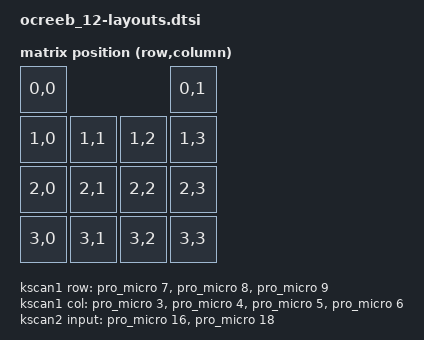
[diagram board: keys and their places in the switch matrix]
// See https://zmk.dev/docs/development/hardware-integration/physical-layouts
// for how to configure this.

#include <physical_layouts.dtsi>

/ {
    kscan0: kscan_composite {
        compatible = "zmk,kscan-composite";
        rows = <4>;
        columns = <4>;

        // Include the matrix driver
        matrix {
            kscan = <&kscan1>;
            row-offset = <1>; // ...and shift it to not overlap
        };

        direct {
            kscan = <&kscan2>;
        };
    };

    kscan1: kscan_matrix {
        // If the hardware does not use a switch matrix, change this to the
        // appropriate driver and update the properties below to match.
        // See https://zmk.dev/docs/config/kscan for supported key scan drivers.
        compatible = "zmk,kscan-gpio-matrix";
        // Set this to "col2row" or "row2col" to match the hardware. If using
        // "row2col", change the col-gpios to (GPIO_ACTIVE_HIGH | GPIO_PULL_DOWN)
        // and the row-gpios to GPIO_ACTIVE_HIGH.
        diode-direction = "col2row";
        wakeup-source;

        // Replace these comments with the GPIO pins in the matrix.
        // See https://zmk.dev/docs/development/hardware-integration/new-shield#shield-overlays
        col-gpios
            = <&pro_micro 3 GPIO_ACTIVE_HIGH>
            , <&pro_micro 4 GPIO_ACTIVE_HIGH>
            , <&pro_micro 5 GPIO_ACTIVE_HIGH>
            , <&pro_micro 6 GPIO_ACTIVE_HIGH>
            ;

        row-gpios
            = <&pro_micro 7 (GPIO_ACTIVE_HIGH | GPIO_PULL_DOWN)>
            , <&pro_micro 8 (GPIO_ACTIVE_HIGH | GPIO_PULL_DOWN)>
            , <&pro_micro 9 (GPIO_ACTIVE_HIGH | GPIO_PULL_DOWN)>
            ;
    };

    kscan2: kscan_direct {
        compatible = "zmk,kscan-gpio-direct";
        wakeup-source;
        input-gpios
            = <&pro_micro 16 (GPIO_ACTIVE_LOW | GPIO_PULL_UP)>
            , <&pro_micro 18 (GPIO_ACTIVE_LOW | GPIO_PULL_UP)>
            ;
    };

    default_transform: default_transform {
        // See https://zmk.dev/docs/development/hardware-integration/new-shield#matrix-transform
        // for how to configure this
        compatible = "zmk,matrix-transform";
        columns = <4>;
        rows = <3>;

        map = <
            RC(1, 0) RC(1, 1) RC(1, 2) RC(1, 3)
            RC(2, 0) RC(2, 1) RC(2, 2) RC(2, 3)
            RC(3, 0) RC(3, 1) RC(3, 2) RC(3, 3)
            RC(0, 0) RC(0, 1)
        >;
    };

    physical_layout0: physical_layout_0 {
        compatible = "zmk,physical-layout";
        display-name = "Default";

        kscan = <&kscan0>;
        transform = <&matrix_transform0>;

        keys  //                     w   h    x    y     rot    rx    ry
            = <&key_physical_attrs 100 100    0  100       0     0     0>
            , <&key_physical_attrs 100 100  100  100       0     0     0>
            , <&key_physical_attrs 100 100  200  100       0     0     0>
            , <&key_physical_attrs 100 100  300  100       0     0     0>
            , <&key_physical_attrs 100 100    0  200       0     0     0>
            , <&key_physical_attrs 100 100  100  200       0     0     0>
            , <&key_physical_attrs 100 100  200  200       0     0     0>
            , <&key_physical_attrs 100 100  300  200       0     0     0>
            , <&key_physical_attrs 100 100    0  300       0     0     0>
            , <&key_physical_attrs 100 100  100  300       0     0     0>
            , <&key_physical_attrs 100 100  200  300       0     0     0>
            , <&key_physical_attrs 100 100  300  300       0     0     0>
            , <&key_physical_attrs 100 100    0    0       0     0     0>
            , <&key_physical_attrs 100 100  300    0       0     0     0>
            ;
    };
};
